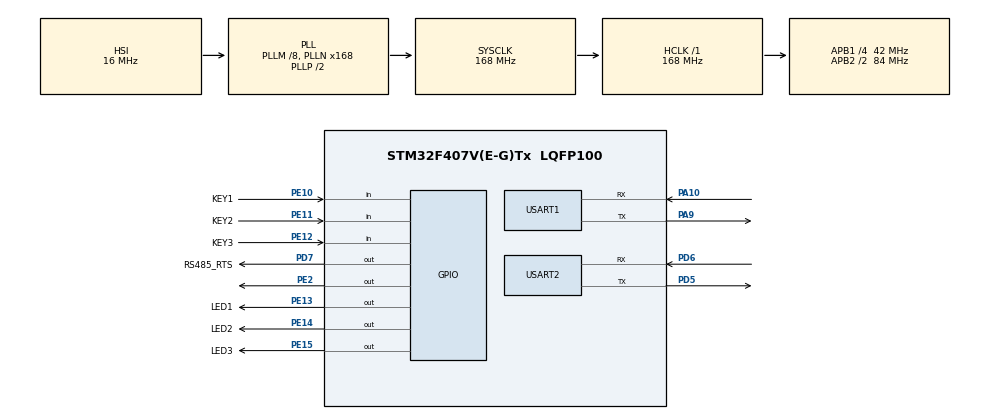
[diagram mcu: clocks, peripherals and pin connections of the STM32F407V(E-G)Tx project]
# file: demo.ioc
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Dma.Request0=USART2_RX
Dma.Request1=USART2_TX
Dma.Request2=USART1_RX
Dma.Request3=USART1_TX
Dma.USART1_RX.2.Direction=DMA_PERIPH_TO_MEMORY
Dma.USART1_RX.2.FIFOMode=DMA_FIFOMODE_DISABLE
Dma.USART1_RX.2.Instance=DMA2_Stream2
Dma.USART1_RX.2.MemDataAlignment=DMA_MDATAALIGN_BYTE
Dma.USART1_RX.2.MemInc=DMA_MINC_ENABLE
Dma.USART1_RX.2.Mode=DMA_CIRCULAR
Dma.USART1_RX.2.PeriphDataAlignment=DMA_PDATAALIGN_BYTE
Dma.USART1_RX.2.PeriphInc=DMA_PINC_DISABLE
Dma.USART1_RX.2.Priority=DMA_PRIORITY_LOW
Dma.USART1_TX.3.Direction=DMA_MEMORY_TO_PERIPH
Dma.USART1_TX.3.FIFOMode=DMA_FIFOMODE_DISABLE
Dma.USART1_TX.3.Instance=DMA2_Stream7
Dma.USART1_TX.3.MemDataAlignment=DMA_MDATAALIGN_BYTE
Dma.USART1_TX.3.MemInc=DMA_MINC_ENABLE
Dma.USART1_TX.3.Mode=DMA_NORMAL
Dma.USART1_TX.3.PeriphDataAlignment=DMA_PDATAALIGN_BYTE
Dma.USART1_TX.3.PeriphInc=DMA_PINC_DISABLE
Dma.USART1_TX.3.Priority=DMA_PRIORITY_LOW
Dma.USART2_RX.0.Direction=DMA_PERIPH_TO_MEMORY
Dma.USART2_RX.0.FIFOMode=DMA_FIFOMODE_DISABLE
Dma.USART2_RX.0.Instance=DMA1_Stream5
Dma.USART2_RX.0.MemDataAlignment=DMA_MDATAALIGN_BYTE
Dma.USART2_RX.0.MemInc=DMA_MINC_ENABLE
Dma.USART2_RX.0.Mode=DMA_CIRCULAR
Dma.USART2_RX.0.PeriphDataAlignment=DMA_PDATAALIGN_BYTE
Dma.USART2_RX.0.PeriphInc=DMA_PINC_DISABLE
Dma.USART2_RX.0.Priority=DMA_PRIORITY_LOW
Dma.USART2_TX.1.Direction=DMA_MEMORY_TO_PERIPH
Dma.USART2_TX.1.FIFOMode=DMA_FIFOMODE_DISABLE
Dma.USART2_TX.1.Instance=DMA1_Stream6
Dma.USART2_TX.1.MemDataAlignment=DMA_MDATAALIGN_BYTE
Dma.USART2_TX.1.MemInc=DMA_MINC_ENABLE
Dma.USART2_TX.1.Mode=DMA_NORMAL
Dma.USART2_TX.1.PeriphDataAlignment=DMA_PDATAALIGN_BYTE
Dma.USART2_TX.1.PeriphInc=DMA_PINC_DISABLE
Dma.USART2_TX.1.Priority=DMA_PRIORITY_LOW
Mcu.Family=STM32F4
Mcu.Name=STM32F407V(E-G)Tx
Mcu.Package=LQFP100
NVIC.DMA1_Stream5_IRQn=true\:0\:0\:false\:false\:true\:false\:true\:true
NVIC.DMA1_Stream6_IRQn=true\:0\:0\:false\:false\:true\:false\:true\:true
NVIC.DMA2_Stream2_IRQn=true\:0\:0\:false\:false\:true\:false\:true\:true
NVIC.DMA2_Stream7_IRQn=true\:0\:0\:false\:false\:true\:false\:true\:true
NVIC.PriorityGroup=NVIC_PRIORITYGROUP_4
NVIC.TIM1_TRG_COM_TIM11_IRQn=true\:0\:0\:false\:false\:true\:true\:true\:true
NVIC.USART1_IRQn=true\:0\:0\:false\:false\:true\:true\:true\:true
NVIC.USART2_IRQn=true\:0\:0\:false\:false\:true\:true\:true\:true
PA10.Mode=Asynchronous
PA10.Signal=USART1_RX
PA13.Mode=Serial_Wire
PA13.Signal=SYS_JTMS-SWDIO
PA14.Mode=Serial_Wire
PA14.Signal=SYS_JTCK-SWCLK
PA9.Mode=Asynchronous
PA9.Signal=USART1_TX
PD5.Mode=Asynchronous
PD5.Signal=USART2_TX
PD6.Mode=Asynchronous
PD6.Signal=USART2_RX
PD7.GPIO_Label=RS485_RTS
PD7.GPIO_Speed=GPIO_SPEED_FREQ_HIGH
PD7.PinState=GPIO_PIN_SET
PD7.Signal=GPIO_Output
PE10.GPIO_Label=KEY1
PE10.Signal=GPIO_Input
PE11.GPIO_Label=KEY2
PE11.Signal=GPIO_Input
PE12.GPIO_Label=KEY3
PE12.Signal=GPIO_Input
PE13.GPIO_Label=LED1
PE13.Signal=GPIO_Output
PE14.GPIO_Label=LED2
PE14.Signal=GPIO_Output
PE15.GPIO_Label=LED3
PE15.Signal=GPIO_Output
PE2.Signal=GPIO_Output
PH0-OSC_IN.Mode=HSE-External-Oscillator
PH0-OSC_IN.Signal=RCC_OSC_IN
PH1-OSC_OUT.Mode=HSE-External-Oscillator
PH1-OSC_OUT.Signal=RCC_OSC_OUT
ProjectManager.HeapSize=0x2000
ProjectManager.StackSize=0x2000
ProjectManager.TargetToolchain=MDK-ARM V5
RCC.48MHZClocksFreq_Value=84000000
RCC.AHBFreq_Value=168000000
RCC.APB1CLKDivider=RCC_HCLK_DIV4
RCC.APB1Freq_Value=42000000
RCC.APB1TimFreq_Value=84000000
RCC.APB2CLKDivider=RCC_HCLK_DIV2
RCC.APB2Freq_Value=84000000
RCC.APB2TimFreq_Value=168000000
RCC.CortexFreq_Value=168000000
RCC.HCLKFreq_Value=168000000
RCC.HSE_VALUE=25000000
RCC.HSI_VALUE=16000000
RCC.LSE_VALUE=32768
RCC.PLLM=8
RCC.PLLN=168
RCC.SYSCLKFreq_VALUE=168000000
RCC.SYSCLKSource=RCC_SYSCLKSOURCE_PLLCLK
RCC.VCOOutputFreq_Value=336000000
TIM11.AutoReloadPreload=TIM_AUTORELOAD_PRELOAD_ENABLE
TIM11.Period=1000-1
TIM11.Prescaler=168-1
USART1.VirtualMode=VM_ASYNC
USART2.VirtualMode=VM_ASYNC
VP_TIM11_VS_ClockSourceINT.Mode=Enable_Timer
board=custom

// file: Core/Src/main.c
/* USER CODE BEGIN Header */
/**
 ******************************************************************************
 * @file           : main.c
 * @brief          : Main program body
 ******************************************************************************
 * @attention
 *
 * Copyright (c) 2023 STMicroelectronics.
 * All rights reserved.
 *
 * This software is licensed under terms that can be found in the LICENSE file
 * in the root directory of this software component.
 * If no LICENSE file comes with this software, it is provided AS-IS.
 *
 ******************************************************************************
 */
/* USER CODE END Header */
#include "main.h"

/* USER CODE BEGIN Includes */
#include <stdio.h>
#include "logger.h"
/* USER CODE END Includes */

TIM_HandleTypeDef htim11;

UART_HandleTypeDef huart1;
UART_HandleTypeDef huart2;
DMA_HandleTypeDef  hdma_usart1_rx;
DMA_HandleTypeDef  hdma_usart1_tx;
DMA_HandleTypeDef  hdma_usart2_rx;
DMA_HandleTypeDef  hdma_usart2_tx;

void        SystemClock_Config(void);
static void MX_GPIO_Init(void);
static void MX_DMA_Init(void);
static void MX_TIM11_Init(void);
static void MX_USART1_UART_Init(void);
static void MX_USART2_UART_Init(void);
/* USER CODE BEGIN PFP */
void        HAL_TIM_PeriodElapsedCallback(TIM_HandleTypeDef* htim)
{}
/* USER CODE END PFP */

int main(void)
{

    /* MCU Configuration--------------------------------------------------------*/

    /* Reset of all peripherals, Initializes the Flash interface and the Systick. */
    HAL_Init();

    /* Configure the system clock */
    SystemClock_Config();

    /* USER CODE BEGIN SysInit */
    __HAL_RCC_GPIOA_CLK_ENABLE();
    __HAL_RCC_GPIOB_CLK_ENABLE();
    __HAL_RCC_GPIOC_CLK_ENABLE();
    __HAL_RCC_GPIOD_CLK_ENABLE();
    __HAL_RCC_GPIOE_CLK_ENABLE();
    /* USER CODE END SysInit */

    /* Initialize all configured peripherals */
    MX_GPIO_Init();
    MX_DMA_Init();
    MX_TIM11_Init();
    MX_USART1_UART_Init();
    MX_USART2_UART_Init();

    /* Infinite loop */
    /* USER CODE BEGIN WHILE */

    LUA_Test();

    while (1)
    {
        /* USER CODE END WHILE */

    }
}

void SystemClock_Config(void)
{
    RCC_OscInitTypeDef RCC_OscInitStruct = {0};
    RCC_ClkInitTypeDef RCC_ClkInitStruct = {0};

    /** Configure the main internal regulator output voltage
     */
    __HAL_RCC_PWR_CLK_ENABLE();
    __HAL_PWR_VOLTAGESCALING_CONFIG(PWR_REGULATOR_VOLTAGE_SCALE1);

    /** Initializes the RCC Oscillators according to the specified parameters
     * in the RCC_OscInitTypeDef structure.
     */
    RCC_OscInitStruct.OscillatorType      = RCC_OSCILLATORTYPE_HSI;
    RCC_OscInitStruct.HSIState            = RCC_HSI_ON;
    RCC_OscInitStruct.HSICalibrationValue = RCC_HSICALIBRATION_DEFAULT;
    RCC_OscInitStruct.PLL.PLLState        = RCC_PLL_ON;
    RCC_OscInitStruct.PLL.PLLSource       = RCC_PLLSOURCE_HSI;
    RCC_OscInitStruct.PLL.PLLM            = 8;
    RCC_OscInitStruct.PLL.PLLN            = 168;
    RCC_OscInitStruct.PLL.PLLP            = RCC_PLLP_DIV2;
    RCC_OscInitStruct.PLL.PLLQ            = 4;
    if (HAL_RCC_OscConfig(&RCC_OscInitStruct) != HAL_OK)
    {
        Error_Handler();
    }

    /** Initializes the CPU, AHB and APB buses clocks
     */
    RCC_ClkInitStruct.ClockType      = RCC_CLOCKTYPE_HCLK | RCC_CLOCKTYPE_SYSCLK | RCC_CLOCKTYPE_PCLK1 | RCC_CLOCKTYPE_PCLK2;
    RCC_ClkInitStruct.SYSCLKSource   = RCC_SYSCLKSOURCE_PLLCLK;
    RCC_ClkInitStruct.AHBCLKDivider  = RCC_SYSCLK_DIV1;
    RCC_ClkInitStruct.APB1CLKDivider = RCC_HCLK_DIV4;
    RCC_ClkInitStruct.APB2CLKDivider = RCC_HCLK_DIV2;

    if (HAL_RCC_ClockConfig(&RCC_ClkInitStruct, FLASH_LATENCY_5) != HAL_OK)
    {
        Error_Handler();
    }
}

static void MX_TIM11_Init(void)
{

    htim11.Instance               = TIM11;
    htim11.Init.Prescaler         = 168 - 1;
    htim11.Init.CounterMode       = TIM_COUNTERMODE_UP;
    htim11.Init.Period            = 1000 - 1;
    htim11.Init.ClockDivision     = TIM_CLOCKDIVISION_DIV1;
    htim11.Init.AutoReloadPreload = TIM_AUTORELOAD_PRELOAD_ENABLE;
    if (HAL_TIM_Base_Init(&htim11) != HAL_OK)
    {
        Error_Handler();
    }
}

static void MX_USART1_UART_Init(void)
{

    huart1.Instance          = USART1;
    huart1.Init.BaudRate     = 115200;
    huart1.Init.WordLength   = UART_WORDLENGTH_8B;
    huart1.Init.StopBits     = UART_STOPBITS_1;
    huart1.Init.Parity       = UART_PARITY_NONE;
    huart1.Init.Mode         = UART_MODE_TX_RX;
    huart1.Init.HwFlowCtl    = UART_HWCONTROL_NONE;
    huart1.Init.OverSampling = UART_OVERSAMPLING_16;
    if (HAL_UART_Init(&huart1) != HAL_OK)
    {
        Error_Handler();
    }
}

static void MX_USART2_UART_Init(void)
{

    huart2.Instance          = USART2;
    huart2.Init.BaudRate     = 115200;
    huart2.Init.WordLength   = UART_WORDLENGTH_8B;
    huart2.Init.StopBits     = UART_STOPBITS_1;
    huart2.Init.Parity       = UART_PARITY_NONE;
    huart2.Init.Mode         = UART_MODE_TX_RX;
    huart2.Init.HwFlowCtl    = UART_HWCONTROL_NONE;
    huart2.Init.OverSampling = UART_OVERSAMPLING_16;
    if (HAL_UART_Init(&huart2) != HAL_OK)
    {
        Error_Handler();
    }
}

static void MX_DMA_Init(void)
{
    /* DMA controller clock enable */
    __HAL_RCC_DMA1_CLK_ENABLE();
    __HAL_RCC_DMA2_CLK_ENABLE();

    /* DMA interrupt init */
    /* DMA1_Stream5_IRQn interrupt configuration */
    HAL_NVIC_SetPriority(DMA1_Stream5_IRQn, 0, 0);
    HAL_NVIC_EnableIRQ(DMA1_Stream5_IRQn);
    /* DMA1_Stream6_IRQn interrupt configuration */
    HAL_NVIC_SetPriority(DMA1_Stream6_IRQn, 0, 0);
    HAL_NVIC_EnableIRQ(DMA1_Stream6_IRQn);
    /* DMA2_Stream2_IRQn interrupt configuration */
    HAL_NVIC_SetPriority(DMA2_Stream2_IRQn, 0, 0);
    HAL_NVIC_EnableIRQ(DMA2_Stream2_IRQn);
    /* DMA2_Stream7_IRQn interrupt configuration */
    HAL_NVIC_SetPriority(DMA2_Stream7_IRQn, 0, 0);
    HAL_NVIC_EnableIRQ(DMA2_Stream7_IRQn);
}

static void MX_GPIO_Init(void)
{
    GPIO_InitTypeDef GPIO_InitStruct = {0};

    /* GPIO Ports Clock Enable */
    __HAL_RCC_GPIOE_CLK_ENABLE();
    __HAL_RCC_GPIOH_CLK_ENABLE();
    __HAL_RCC_GPIOA_CLK_ENABLE();
    __HAL_RCC_GPIOD_CLK_ENABLE();

    /*Configure GPIO pin Output Level */
    HAL_GPIO_WritePin(GPIOE, GPIO_PIN_2 | LED1_Pin | LED2_Pin | LED3_Pin, GPIO_PIN_RESET);

    /*Configure GPIO pin Output Level */
    HAL_GPIO_WritePin(RS485_RTS_GPIO_Port, RS485_RTS_Pin, GPIO_PIN_SET);

    /*Configure GPIO pins : PE2 LED1_Pin LED2_Pin LED3_Pin */
    GPIO_InitStruct.Pin   = GPIO_PIN_2 | LED1_Pin | LED2_Pin | LED3_Pin;
    GPIO_InitStruct.Mode  = GPIO_MODE_OUTPUT_PP;
    GPIO_InitStruct.Pull  = GPIO_NOPULL;
    GPIO_InitStruct.Speed = GPIO_SPEED_FREQ_LOW;
    HAL_GPIO_Init(GPIOE, &GPIO_InitStruct);

    /*Configure GPIO pins : KEY1_Pin KEY2_Pin KEY3_Pin */
    GPIO_InitStruct.Pin  = KEY1_Pin | KEY2_Pin | KEY3_Pin;
    GPIO_InitStruct.Mode = GPIO_MODE_INPUT;
    GPIO_InitStruct.Pull = GPIO_NOPULL;
    HAL_GPIO_Init(GPIOE, &GPIO_InitStruct);

    /*Configure GPIO pin : RS485_RTS_Pin */
    GPIO_InitStruct.Pin   = RS485_RTS_Pin;
    GPIO_InitStruct.Mode  = GPIO_MODE_OUTPUT_PP;
    GPIO_InitStruct.Pull  = GPIO_NOPULL;
    GPIO_InitStruct.Speed = GPIO_SPEED_FREQ_HIGH;
    HAL_GPIO_Init(RS485_RTS_GPIO_Port, &GPIO_InitStruct);

}

/* USER CODE BEGIN 4 */

int fputc(int ch, FILE* f)
{
    if (ch == '\n')
    {
        HAL_UART_Transmit(&huart1, (uint8_t*)"\r", 1, 0xFF);
    }

    HAL_UART_Transmit(&huart1, (uint8_t*)&ch, 1, 0xFF);

    return (ch);
}

int fgetc(FILE* f)
{
    uint8_t ch = '\0';
    HAL_UART_Receive(&huart1, &ch, 1, 0xFF);
    return ch;
}

void putchar_(char ch)
{
    HAL_UART_Transmit(&huart1, (uint8_t*)&ch, 1, 0xFF);
}

/* USER CODE END 4 */

void Error_Handler(void)
{
    __disable_irq();
    while (1)
    {
    }
}

#ifdef USE_FULL_ASSERT
/**
 * @brief  Reports the name of the source file and the source line number
 *         where the assert_param error has occurred.
 * @param  file: pointer to the source file name
 * @param  line: assert_param error line source number
 * @retval None
 */
void assert_failed(uint8_t* file, uint32_t line)
{
    /* USER CODE BEGIN 6 */
    /* User can add his own implementation to report the file name and line number,
       ex: PRINTF("Wrong parameters value: file %s on line %d\r\n", file, line) */
    /* USER CODE END 6 */
}
#endif /* USE_FULL_ASSERT */
